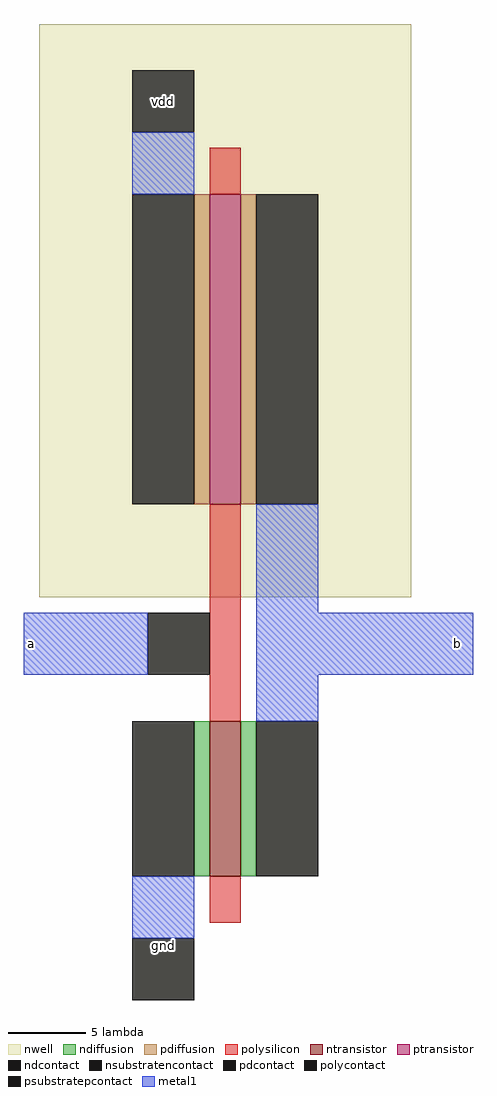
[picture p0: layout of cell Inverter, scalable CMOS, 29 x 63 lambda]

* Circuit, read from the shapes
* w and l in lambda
.subckt Inverter a b gnd vdd
M1 b a gnd gnd nfet w=10 l=2
M2 b a vdd vdd pfet w=20 l=2
.ends

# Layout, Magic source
magic
tech scmos
<< nwell >>
rect 0 0 24 37
<< ntransistor >>
rect 11 -18 13 -8
<< ptransistor >>
rect 11 6 13 26
<< ndiffusion >>
rect 10 -18 11 -8
rect 13 -18 14 -8
<< pdiffusion >>
rect 10 6 11 26
rect 13 6 14 26
<< ndcontact >>
rect 6 -18 10 -8
rect 14 -18 18 -8
<< pdcontact >>
rect 6 6 10 26
rect 14 6 18 26
<< psubstratepcontact >>
rect 6 -26 10 -22
<< nsubstratencontact >>
rect 6 30 10 34
<< polysilicon >>
rect 11 26 13 29
rect 11 -8 13 6
rect 11 -21 13 -18
<< polycontact >>
rect 7 -5 11 -1
<< metal1 >>
rect 6 26 10 30
rect 14 -1 18 6
rect -1 -5 7 -1
rect 14 -5 28 -1
rect 14 -8 18 -5
rect 6 -22 10 -18
<< labels >>
rlabel metal1 6 -23 10 -22 1 gnd
rlabel metal1 -1 -5 0 -1 3 a
rlabel metal1 26 -5 28 -1 7 b
rlabel metal1 6 31 10 33 5 vdd
<< end >>
